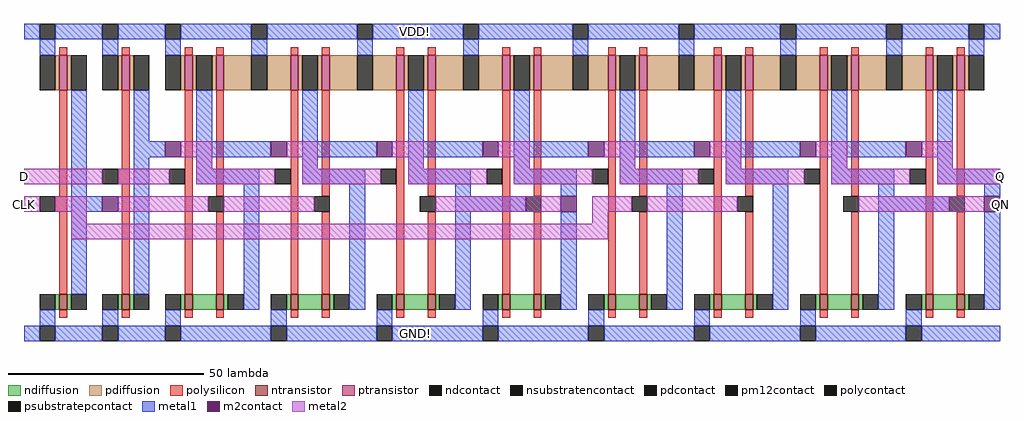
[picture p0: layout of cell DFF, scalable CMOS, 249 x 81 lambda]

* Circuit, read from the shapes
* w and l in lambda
.subckt DFF CLK D GND! Q QN VDD!
M1 n1 CLK GND! GND! nfet w=4 l=2
M2 n2 D GND! GND! nfet w=4 l=2
M3 n3 D GND! GND! nfet w=4 l=2
M4 n4 n1 n3 GND! nfet w=4 l=2
M5 n5 n2 GND! GND! nfet w=4 l=2
M6 n6 n1 n5 GND! nfet w=4 l=2
M7 n7 n4 GND! GND! nfet w=4 l=2
M8 n8 n9 n7 GND! nfet w=4 l=2
M9 n10 n6 GND! GND! nfet w=4 l=2
M10 n9 n8 n10 GND! nfet w=4 l=2
M11 n11 n8 GND! GND! nfet w=4 l=2
M12 n12 CLK n11 GND! nfet w=4 l=2
M13 n13 n9 GND! GND! nfet w=4 l=2
M14 n14 CLK n13 GND! nfet w=4 l=2
M15 n15 n12 GND! GND! nfet w=4 l=2
M16 Q QN n15 GND! nfet w=4 l=2
M17 n16 n14 GND! GND! nfet w=4 l=2
M18 QN Q n16 GND! nfet w=4 l=2
M19 n1 CLK VDD! VDD! pfet w=9 l=2
M20 n2 D VDD! VDD! pfet w=9 l=2
M21 n4 D VDD! VDD! pfet w=9 l=2
M22 VDD! n1 n4 VDD! pfet w=9 l=2
M23 n6 n2 VDD! VDD! pfet w=9 l=2
M24 VDD! n1 n6 VDD! pfet w=9 l=2
M25 n8 n4 VDD! VDD! pfet w=9 l=2
M26 VDD! n9 n8 VDD! pfet w=9 l=2
M27 n9 n6 VDD! VDD! pfet w=9 l=2
M28 VDD! n8 n9 VDD! pfet w=9 l=2
M29 n12 n8 VDD! VDD! pfet w=9 l=2
M30 VDD! CLK n12 VDD! pfet w=9 l=2
M31 n14 n9 VDD! VDD! pfet w=9 l=2
M32 VDD! CLK n14 VDD! pfet w=9 l=2
M33 Q n12 VDD! VDD! pfet w=9 l=2
M34 VDD! QN Q VDD! pfet w=9 l=2
M35 QN n14 VDD! VDD! pfet w=9 l=2
M36 VDD! Q QN VDD! pfet w=9 l=2
.ends

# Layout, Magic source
magic
tech scmos
<< ntransistor >>
rect -100 -18 -98 -14
rect -84 -18 -82 -14
rect -68 -18 -66 -14
rect -60 -18 -58 -14
rect -41 -18 -39 -14
rect -33 -18 -31 -14
rect -14 -18 -12 -14
rect -6 -18 -4 -14
rect 13 -18 15 -14
rect 21 -18 23 -14
rect 40 -18 42 -14
rect 48 -18 50 -14
rect 67 -18 69 -14
rect 75 -18 77 -14
rect 94 -18 96 -14
rect 102 -18 104 -14
rect 121 -18 123 -14
rect 129 -18 131 -14
<< ptransistor >>
rect -100 38 -98 47
rect -84 38 -82 47
rect -68 38 -66 47
rect -60 38 -58 47
rect -41 38 -39 47
rect -33 38 -31 47
rect -14 38 -12 47
rect -6 38 -4 47
rect 13 38 15 47
rect 21 38 23 47
rect 40 38 42 47
rect 48 38 50 47
rect 67 38 69 47
rect 75 38 77 47
rect 94 38 96 47
rect 102 38 104 47
rect 121 38 123 47
rect 129 38 131 47
<< ndiffusion >>
rect -101 -18 -100 -14
rect -98 -18 -97 -14
rect -85 -18 -84 -14
rect -82 -18 -81 -14
rect -69 -18 -68 -14
rect -66 -18 -60 -14
rect -58 -18 -57 -14
rect -42 -18 -41 -14
rect -39 -18 -33 -14
rect -31 -18 -30 -14
rect -15 -18 -14 -14
rect -12 -18 -6 -14
rect -4 -18 -3 -14
rect 12 -18 13 -14
rect 15 -18 21 -14
rect 23 -18 24 -14
rect 39 -18 40 -14
rect 42 -18 48 -14
rect 50 -18 51 -14
rect 66 -18 67 -14
rect 69 -18 75 -14
rect 77 -18 78 -14
rect 93 -18 94 -14
rect 96 -18 102 -14
rect 104 -18 105 -14
rect 120 -18 121 -14
rect 123 -18 129 -14
rect 131 -18 132 -14
<< pdiffusion >>
rect -101 38 -100 47
rect -98 38 -97 47
rect -85 38 -84 47
rect -82 38 -81 47
rect -69 38 -68 47
rect -66 38 -65 47
rect -61 38 -60 47
rect -58 38 -51 47
rect -47 38 -41 47
rect -39 38 -38 47
rect -34 38 -33 47
rect -31 38 -24 47
rect -20 38 -14 47
rect -12 38 -11 47
rect -7 38 -6 47
rect -4 38 3 47
rect 7 38 13 47
rect 15 38 16 47
rect 20 38 21 47
rect 23 38 31 47
rect 35 38 40 47
rect 42 38 43 47
rect 47 38 48 47
rect 50 38 58 47
rect 62 38 67 47
rect 69 38 70 47
rect 74 38 75 47
rect 77 38 84 47
rect 88 38 94 47
rect 96 38 97 47
rect 101 38 102 47
rect 104 38 111 47
rect 115 38 121 47
rect 123 38 124 47
rect 128 38 129 47
rect 131 38 132 47
<< ndcontact >>
rect -105 -18 -101 -14
rect -97 -18 -93 -14
rect -89 -18 -85 -14
rect -81 -18 -77 -14
rect -73 -18 -69 -14
rect -57 -18 -53 -14
rect -46 -18 -42 -14
rect -30 -18 -26 -14
rect -19 -18 -15 -14
rect -3 -18 1 -14
rect 8 -18 12 -14
rect 24 -18 28 -14
rect 35 -18 39 -14
rect 51 -18 55 -14
rect 62 -18 66 -14
rect 78 -18 82 -14
rect 89 -18 93 -14
rect 105 -18 109 -14
rect 116 -18 120 -14
rect 132 -18 136 -14
<< pdcontact >>
rect -105 38 -101 47
rect -97 38 -93 47
rect -89 38 -85 47
rect -81 38 -77 47
rect -73 38 -69 47
rect -65 38 -61 47
rect -51 38 -47 47
rect -38 38 -34 47
rect -24 38 -20 47
rect -11 38 -7 47
rect 3 38 7 47
rect 16 38 20 47
rect 31 38 35 47
rect 43 38 47 47
rect 58 38 62 47
rect 70 38 74 47
rect 84 38 88 47
rect 97 38 101 47
rect 111 38 115 47
rect 124 38 128 47
rect 132 38 136 47
<< psubstratepcontact >>
rect -105 -26 -101 -22
rect -89 -26 -85 -22
rect -73 -26 -69 -22
rect -46 -26 -42 -22
rect -19 -26 -15 -22
rect 8 -26 12 -22
rect 35 -26 39 -22
rect 62 -26 66 -22
rect 89 -26 93 -22
rect 116 -26 120 -22
<< nsubstratencontact >>
rect -105 51 -101 55
rect -89 51 -85 55
rect -73 51 -69 55
rect -51 51 -47 55
rect -24 51 -20 55
rect 3 51 7 55
rect 31 51 35 55
rect 58 51 62 55
rect 84 51 88 55
rect 111 51 115 55
rect 132 51 136 55
<< polysilicon >>
rect -100 47 -98 49
rect -84 47 -82 49
rect -68 47 -66 49
rect -60 47 -58 49
rect -41 47 -39 49
rect -33 47 -31 49
rect -14 47 -12 49
rect -6 47 -4 49
rect 13 47 15 49
rect 21 47 23 49
rect 40 47 42 49
rect 48 47 50 49
rect 67 47 69 49
rect 75 47 77 49
rect 94 47 96 49
rect 102 47 104 49
rect 121 47 123 49
rect 129 47 131 49
rect -100 11 -98 38
rect -84 18 -82 38
rect -85 14 -82 18
rect -101 7 -98 11
rect -100 -14 -98 7
rect -84 -14 -82 14
rect -68 -14 -66 38
rect -60 11 -58 38
rect -60 -14 -58 7
rect -41 -14 -39 38
rect -33 11 -31 38
rect -33 -14 -31 7
rect -14 -14 -12 38
rect -6 11 -4 38
rect -6 -14 -4 7
rect 13 -14 15 38
rect 21 11 23 38
rect 21 -14 23 7
rect 40 -14 42 38
rect 48 11 50 38
rect 48 -14 50 7
rect 67 -14 69 38
rect 75 11 77 38
rect 75 -14 77 7
rect 94 -14 96 38
rect 102 11 104 38
rect 102 -14 104 7
rect 121 -14 123 38
rect 129 11 131 38
rect 129 -14 131 7
rect -100 -20 -98 -18
rect -84 -20 -82 -18
rect -68 -20 -66 -18
rect -60 -20 -58 -18
rect -41 -20 -39 -18
rect -33 -20 -31 -18
rect -14 -20 -12 -18
rect -6 -20 -4 -18
rect 13 -20 15 -18
rect 21 -20 23 -18
rect 40 -20 42 -18
rect 48 -20 50 -18
rect 67 -20 69 -18
rect 75 -20 77 -18
rect 94 -20 96 -18
rect 102 -20 104 -18
rect 121 -20 123 -18
rect 129 -20 131 -18
<< polycontact >>
rect 19 7 23 11
rect 127 7 131 11
<< metal1 >>
rect -109 51 -105 55
rect -101 51 -89 55
rect -85 51 -73 55
rect -69 51 -51 55
rect -47 51 -24 55
rect -20 51 3 55
rect 7 51 31 55
rect 35 51 58 55
rect 62 51 84 55
rect 88 51 111 55
rect 115 51 132 55
rect 136 51 140 55
rect -105 47 -101 51
rect -89 47 -85 51
rect -73 47 -69 51
rect -51 47 -47 51
rect -24 47 -20 51
rect 3 47 7 51
rect 31 47 35 51
rect 58 47 62 51
rect 84 47 88 51
rect 111 47 115 51
rect 132 47 136 51
rect -97 11 -93 38
rect -81 25 -77 38
rect -65 25 -61 38
rect -38 25 -34 38
rect -11 25 -7 38
rect 16 25 20 38
rect 43 25 47 38
rect 70 25 74 38
rect 97 25 101 38
rect -81 21 -73 25
rect -65 21 -46 25
rect -38 21 -19 25
rect -11 21 8 25
rect 16 21 35 25
rect 43 21 62 25
rect 70 21 89 25
rect 97 21 116 25
rect -97 7 -89 11
rect -97 -14 -93 7
rect -81 -14 -77 21
rect -65 18 -61 21
rect -38 18 -34 21
rect -11 18 -7 21
rect 16 18 20 21
rect 43 18 47 21
rect 70 18 74 21
rect 97 18 101 21
rect 124 18 128 38
rect -65 14 -49 18
rect -38 14 -22 18
rect -11 14 5 18
rect 16 14 32 18
rect 43 14 59 18
rect 70 14 86 18
rect 97 14 113 18
rect 124 14 140 18
rect -53 -18 -49 14
rect -26 -18 -22 14
rect 1 11 5 14
rect 28 11 32 14
rect 1 7 19 11
rect 1 -18 5 7
rect 28 -18 32 7
rect 55 -18 59 14
rect 82 -18 86 14
rect 109 11 113 14
rect 136 11 140 14
rect 109 7 127 11
rect 109 -18 113 7
rect 136 -18 140 7
rect -105 -22 -101 -18
rect -89 -22 -85 -18
rect -73 -22 -69 -18
rect -46 -22 -42 -18
rect -19 -22 -15 -18
rect 8 -22 12 -18
rect 35 -22 39 -18
rect 62 -22 66 -18
rect 89 -22 93 -18
rect 116 -22 120 -18
rect -109 -26 -105 -22
rect -101 -26 -89 -22
rect -85 -26 -73 -22
rect -69 -26 -46 -22
rect -42 -26 -19 -22
rect -15 -26 8 -22
rect 12 -26 35 -22
rect 39 -26 62 -22
rect 66 -26 89 -22
rect 93 -26 116 -22
rect 120 -26 140 -22
<< m2contact >>
rect -73 21 -69 25
rect -46 21 -42 25
rect -19 21 -15 25
rect 8 21 12 25
rect 35 21 39 25
rect 62 21 66 25
rect 89 21 93 25
rect 116 21 120 25
rect -89 7 -85 11
rect 28 7 32 11
rect 136 7 140 11
<< pm12contact >>
rect -89 14 -85 18
rect -105 7 -101 11
rect -72 14 -68 18
rect -45 14 -41 18
rect -18 14 -14 18
rect 9 14 13 18
rect 36 14 40 18
rect 63 14 67 18
rect 90 14 94 18
rect 117 14 121 18
rect -62 7 -58 11
rect -35 7 -31 11
rect -8 7 -4 11
rect 46 7 50 11
rect 73 7 77 11
rect 100 7 104 11
<< metal2 >>
rect -69 21 -61 25
rect -42 21 -34 25
rect -15 21 -7 25
rect 12 21 20 25
rect 39 21 47 25
rect 66 21 74 25
rect 93 21 101 25
rect 120 21 128 25
rect -65 18 -61 21
rect -38 18 -34 21
rect -11 18 -7 21
rect 16 18 20 21
rect 43 18 47 21
rect 70 18 74 21
rect 97 18 101 21
rect 124 18 128 21
rect -109 14 -89 18
rect -85 14 -72 18
rect -65 14 -45 18
rect -38 14 -18 18
rect -11 14 9 18
rect 16 14 36 18
rect 43 14 63 18
rect 70 14 90 18
rect 97 14 117 18
rect 124 14 140 18
rect -109 7 -105 11
rect -101 7 -93 11
rect -85 7 -62 11
rect -58 7 -35 11
rect -4 7 28 11
rect 36 7 46 11
rect 50 7 73 11
rect 104 7 136 11
rect -97 4 -93 7
rect 36 4 40 7
rect -97 0 40 4
<< labels >>
rlabel metal2 -109 7 -109 11 1 CLK
rlabel metal2 -109 14 -109 18 1 D
rlabel metal1 -9 -24 -9 -24 1 GND!
rlabel metal1 -9 53 -9 53 5 VDD!
rlabel metal2 140 14 140 18 1 Q
rlabel m2contact 140 7 140 11 1 QN
<< end >>
